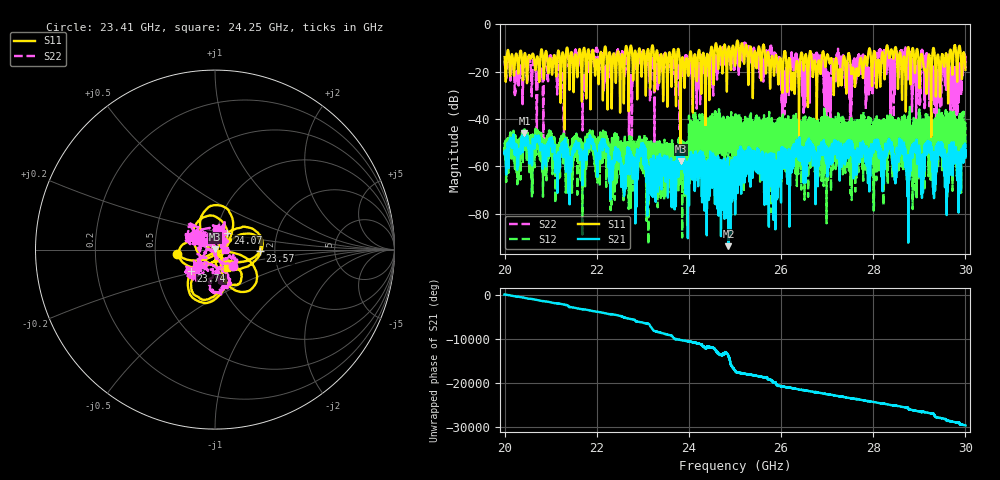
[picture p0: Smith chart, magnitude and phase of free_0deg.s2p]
#  HZ  S  RI  R  50.00
! Rohde & Schwarz ZVA40 4Ports - Version 3.90 - 1145.1110k42 SN: 100403
! Date: 2023-09-06 06:01:38
! Measurements: S11 S21 S12 S22
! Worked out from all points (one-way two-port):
!   8001 points, 20 GHz to 30 GHz, reference 50 ohm
!   highest |S21| = -45.83 dB at 20.43 GHz (marker M1); lowest = -93.6 dB at 24.86 GHz (marker M2)
!   lowest |S11| = -57.9 dB at 23.82 GHz (marker M3), VSWR 1.00, Z = 50.1 + j0.0977 ohm
!   |S11| at or under -10 dB: start of sweep to 21.35 GHz; 23.22 GHz to 24.48 GHz (1.256 GHz wide, 5.27 % of centre); 25.64 GHz to 28.28 GHz (2.646 GHz wide, 9.82 % of centre)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
!   |S22| runs from -67.9 to -7.8 dB; largest |S21 - S12| = 0.018
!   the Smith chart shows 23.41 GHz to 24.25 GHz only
!   S11 on the Smith chart (normalised r, x): 23.41 GHz: 0.65, -0.03; 23.57 GHz: 1.66, -0.02; 23.74 GHz: 0.74, -0.19; 24.07 GHz: 1.13, +0.21; 24.25 GHz: 1.12, -0.24
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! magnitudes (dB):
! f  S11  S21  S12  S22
! 20 GHz  -13.8  -54.4  -52.7  -15.8
! 20.43 GHz  -12.6  -45.8  -46.5  -14.7
! 21.67 GHz  -20.8  -54.9  -51.4  -17.8
! 22.51 GHz  -34.7  -57.7  -52.8  -16.5
! 22.73 GHz  -9.1  -56.6  -56.7  -26.8
! 23.33 GHz  -15.5  -59.6  -55.4  -23.4
! 23.41 GHz  -13.4  -61.2  -58.0  -17.4
! 23.57 GHz  -12.1  -63.4  -61.0  -14.1
! 23.74 GHz  -14.9  -60.5  -54.4  -18.5
! 23.82 GHz  -57.9  -59.4  -60.3  -20.0
! 24.07 GHz  -18.7  -65.5  -48.6  -24.1
! 24.25 GHz  -18.1  -56.5  -50.3  -25.2
! 24.86 GHz  -9.8  -93.6  -43.8  -10.1
! 25 GHz  -17.5  -63.3  -43.2  -17.4
! 25.79 GHz  -15.4  -54.8  -40.0  -11.5
! 26.06 GHz  -13.6  -57.2  -46.4  -23.6
! 26.67 GHz  -15.7  -53.6  -51.4  -13.7
! 27.03 GHz  -14.4  -55.4  -53.1  -28.5
! 27.25 GHz  -24.4  -52.7  -48.1  -14.0
! 28.33 GHz  -12.3  -49.2  -46.1  -12.8
! 29.35 GHz  -22.2  -53.9  -48.5  -25.6
! 30 GHz  -19.2  -56.3  -52.0  -15.6
